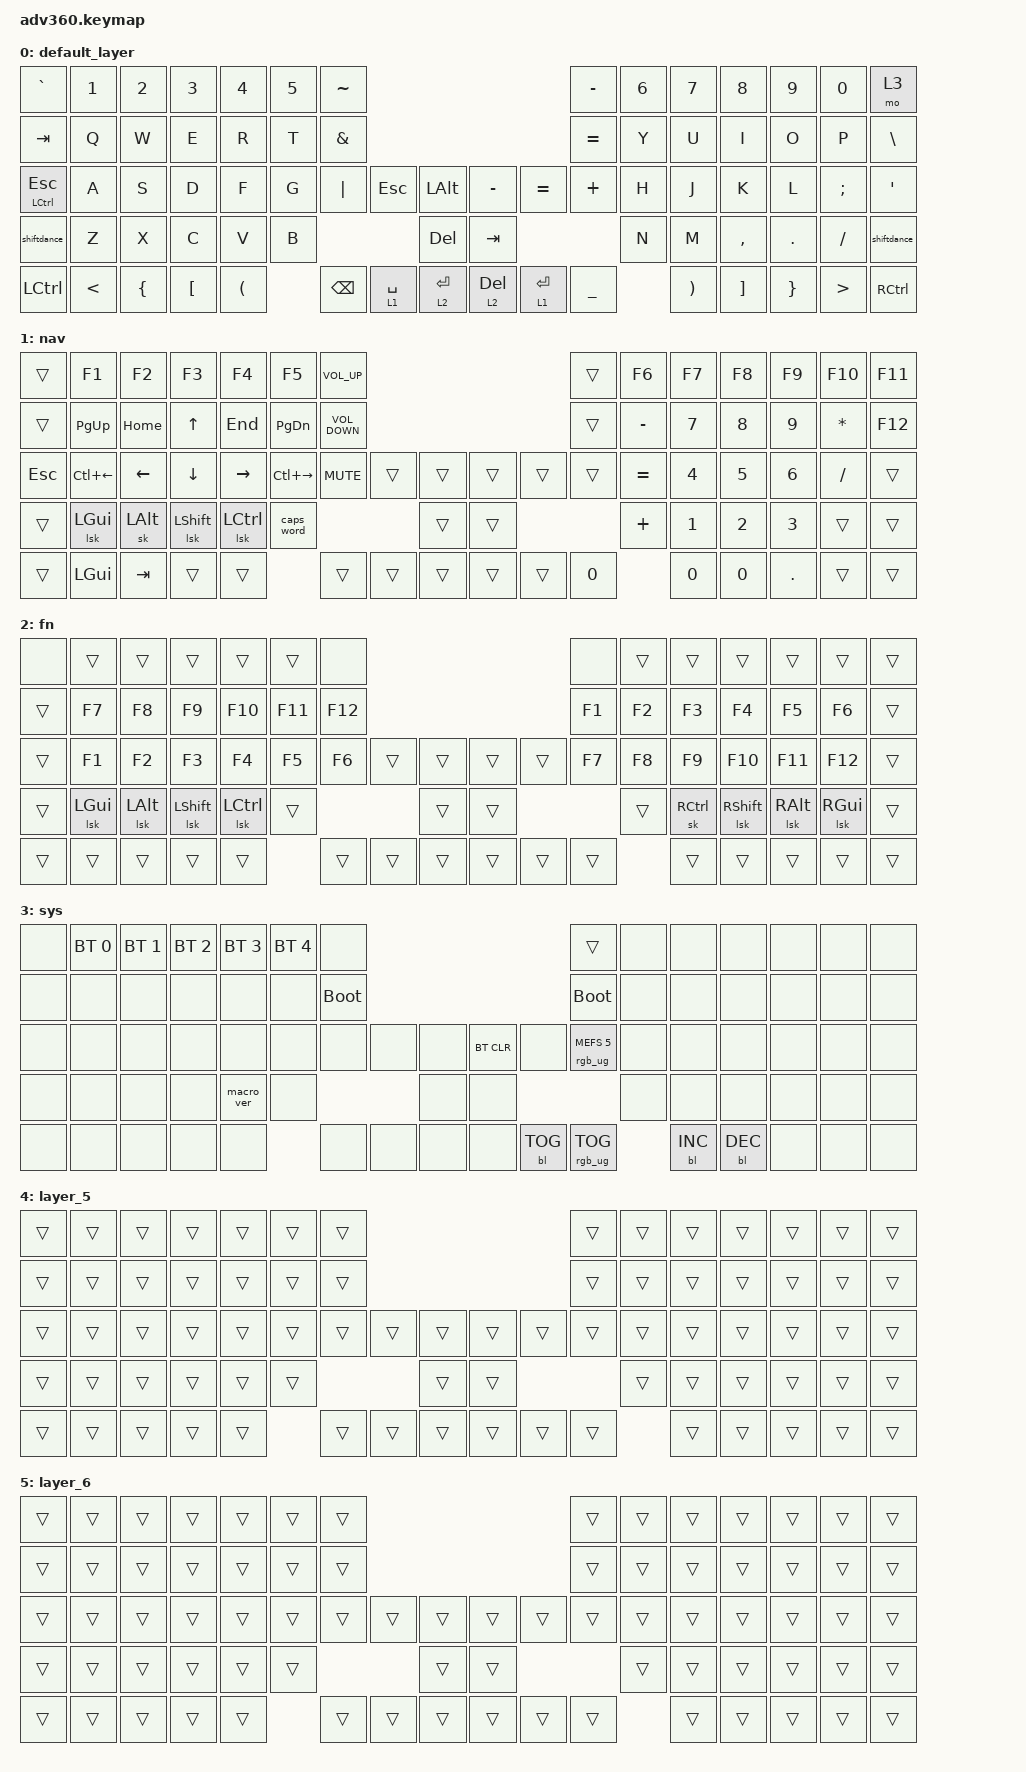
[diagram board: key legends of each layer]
#include <behaviors.dtsi>
#include <dt-bindings/zmk/backlight.h>
#include <dt-bindings/zmk/bt.h>
#include <dt-bindings/zmk/keys.h>
#include <dt-bindings/zmk/rgb.h>

&caps_word { continue-list = <UNDERSCORE BACKSPACE DELETE>; };

&sk {
};

/ {
    behaviors {
        #include "macros.dtsi"
      #include "version.dtsi"
      #ifndef VERSION_MACRO

        macro_ver: macro_ver {
            compatible = "zmk,behavior-macro";
            label = "macro_version";
            #binding-cells = <0>;
            bindings = <&kp RET>;
        };

        #endif

        hm_right: homerow_mods {
            compatible = "zmk,behavior-hold-tap";
            label = "HOMEROW_MODS";
            #binding-cells = <2>;
            tapping-term-ms = <190>;
            quick_tap_ms = <0>;
            flavor = "tap-preferred";
            bindings = <&kp>, <&kp>;

            quick-tap-ms = <300>;
            require-prior-idle-ms = <100>;
            hold-trigger-on-release;
            hold-trigger-key-positions = <0 1 2 3 4 5 6 14 15 16 17 18 19 20 28 29 30 31 32 33 34 35 36 46 47 48 49 50 51 52 60 61 62 63 64 65 66 67 37 38 53 68 69 70>;
        };

        shiftdance: shiftdance {
            compatible = "zmk,behavior-tap-dance";
            label = "SHIFTDANCE";
            #binding-cells = <0>;
            bindings = <&kp LEFT_SHIFT>, <&kp CAPS>;
        };

        lsk: lsk {
            compatible = "zmk,behavior-sticky-key";
            label = "LSK";
            bindings = <&kp>;
            #binding-cells = <1>;
            release-after-ms = <2000>;
            lazy;
            ignore-modifiers;
        };

        llt: llt {
            compatible = "zmk,behavior-hold-tap";
            label = "LLT";
            bindings = <&mo>, <&kp>;

            #binding-cells = <2>;
            tapping-term-ms = <500>;
            quick-tap-ms = <500>;
            flavor = "tap-unless-interrupted";
        };

        hm_left: hm_left {
            compatible = "zmk,behavior-hold-tap";
            label = "HM_LEFT";
            #binding-cells = <2>;
            tapping-term-ms = <190>;
            quick_tap_ms = <0>;
            flavor = "tap-preferred";
            bindings = <&kp>, <&kp>;

            quick-tap-ms = <300>;
            require-prior-idle-ms = <100>;
            hold-trigger-on-release;
            hold-trigger-key-positions = <7 8 9 10 11 12 13 21 22 23 24 25 26 27 38 39 40 41 42 43 44 45 54 55 56 57 58 59 71 72 73 74 75 37 38 53 68 69 70 71 35 36 52 65 66 67>;
        };
    };

    macros {
    };

    keymap {
        compatible = "zmk,keymap";

        default_layer {
            bindings = <
&kp GRAVE         &kp N1         &kp N2          &kp N3            &kp N4                &kp N5  &kp TILDE                                                             &kp MINUS  &kp N6  &kp N7                 &kp N8             &kp N9           &kp N0            &mo 3
&kp TAB           &kp Q          &kp W           &kp E             &kp R                 &kp T   &kp AMPERSAND                                                         &kp EQUAL  &kp Y   &kp U                  &kp I              &kp O            &kp P             &kp BSLH
&mt LCTRL ESCAPE  &kp A          &kp S           &kp D             &kp F                 &kp G   &kp PIPE       &kp ESCAPE   &kp LEFT_ALT      &kp MINUS  &kp EQUAL    &kp PLUS   &kp H   &kp J                  &kp K              &kp L            &kp SEMI          &kp SQT
&shiftdance       &kp Z          &kp X           &kp C             &kp V                 &kp B                               &kp DEL           &kp TAB                            &kp N   &kp M                  &kp COMMA          &kp DOT          &kp FSLH          &shiftdance
&kp LCTRL         &kp LESS_THAN  &kp LEFT_BRACE  &kp LEFT_BRACKET  &kp LEFT_PARENTHESIS          &kp BACKSPACE  &lt 1 SPACE  &lt 2 ENTER       &lt 2 DEL  &lt 1 ENTER  &kp UNDER          &kp RIGHT_PARENTHESIS  &kp RIGHT_BRACKET  &kp RIGHT_BRACE  &kp GREATER_THAN  &kp RCTRL
            >;
        };

        nav {
            bindings = <
&trans      &kp F1              &kp F2          &kp F3           &kp F4           &kp F5               &kp C_VOLUME_UP                                        &trans  &kp F6     &kp F7  &kp F8  &kp F9   &kp F10       &kp F11
&trans      &kp PAGE_UP         &kp HOME        &kp UP_ARROW     &kp END          &kp PAGE_DOWN        &kp C_VOLUME_DOWN                                      &trans  &kp MINUS  &kp N7  &kp N8  &kp N9   &kp ASTERISK  &kp F12
&kp ESCAPE  &kp LC(LEFT_ARROW)  &kp LEFT_ARROW  &kp DOWN_ARROW   &kp RIGHT_ARROW  &kp LC(RIGHT_ARROW)  &kp C_MUTE         &trans  &trans      &trans  &trans  &trans  &kp EQUAL  &kp N4  &kp N5  &kp N6   &kp SLASH     &trans
&trans      &lsk LGUI           &sk LEFT_ALT    &lsk LEFT_SHIFT  &lsk LCTRL       &caps_word                                      &trans      &trans                  &kp PLUS   &kp N1  &kp N2  &kp N3   &trans        &trans
&trans      &kp LEFT_GUI        &kp TAB         &trans           &trans                                &trans             &trans  &trans      &trans  &trans  &kp N0             &kp N0  &kp N0  &kp DOT  &trans        &trans
            >;
        };

        fn {
            bindings = <
&none   &trans     &trans     &trans      &trans      &trans   &none                                        &none   &trans  &trans     &trans            &trans          &trans          &trans
&trans  &kp F7     &kp F8     &kp F9      &kp F10     &kp F11  &kp F12                                      &kp F1  &kp F2  &kp F3     &kp F4            &kp F5          &kp F6          &trans
&trans  &kp F1     &kp F2     &kp F3      &kp F4      &kp F5   &kp F6   &trans  &trans      &trans  &trans  &kp F7  &kp F8  &kp F9     &kp F10           &kp F11         &kp F12         &trans
&trans  &lsk LGUI  &lsk LALT  &lsk LSHFT  &lsk LCTRL  &trans                    &trans      &trans                  &trans  &sk RCTRL  &lsk RIGHT_SHIFT  &lsk RIGHT_ALT  &lsk RIGHT_GUI  &trans
&trans  &trans     &trans     &trans      &trans               &trans   &trans  &trans      &trans  &trans  &trans          &trans     &trans            &trans          &trans          &trans
            >;
        };

        sys {
            bindings = <
&none  &bt BT_SEL 0  &bt BT_SEL 1  &bt BT_SEL 2  &bt BT_SEL 3  &bt BT_SEL 4  &none                                                  &trans                  &none  &none       &none       &none  &none  &none
&none  &none         &none         &none         &none         &none         &bootloader                                            &bootloader             &none  &none       &none       &none  &none  &none
&none  &none         &none         &none         &none         &none         &none        &none  &none      &bt BT_CLR  &none       &rgb_ug RGB_MEFS_CMD 5  &none  &none       &none       &none  &none  &none
&none  &none         &none         &none         &macro_ver    &none                             &none      &none                                           &none  &none       &none       &none  &none  &none
&none  &none         &none         &none         &none                       &none        &none  &none      &none       &bl BL_TOG  &rgb_ug RGB_TOG                &bl BL_INC  &bl BL_DEC  &none  &none  &none
            >;
        };

        layer_5 {
            bindings = <
&trans  &trans  &trans  &trans  &trans  &trans  &trans                                      &trans  &trans  &trans  &trans  &trans  &trans  &trans
&trans  &trans  &trans  &trans  &trans  &trans  &trans                                      &trans  &trans  &trans  &trans  &trans  &trans  &trans
&trans  &trans  &trans  &trans  &trans  &trans  &trans  &trans  &trans      &trans  &trans  &trans  &trans  &trans  &trans  &trans  &trans  &trans
&trans  &trans  &trans  &trans  &trans  &trans                  &trans      &trans                  &trans  &trans  &trans  &trans  &trans  &trans
&trans  &trans  &trans  &trans  &trans          &trans  &trans  &trans      &trans  &trans  &trans          &trans  &trans  &trans  &trans  &trans
            >;
        };

        layer_6 {
            bindings = <
&trans  &trans  &trans  &trans  &trans  &trans  &trans                                      &trans  &trans  &trans  &trans  &trans  &trans  &trans
&trans  &trans  &trans  &trans  &trans  &trans  &trans                                      &trans  &trans  &trans  &trans  &trans  &trans  &trans
&trans  &trans  &trans  &trans  &trans  &trans  &trans  &trans  &trans      &trans  &trans  &trans  &trans  &trans  &trans  &trans  &trans  &trans
&trans  &trans  &trans  &trans  &trans  &trans                  &trans      &trans                  &trans  &trans  &trans  &trans  &trans  &trans
&trans  &trans  &trans  &trans  &trans          &trans  &trans  &trans      &trans  &trans  &trans          &trans  &trans  &trans  &trans  &trans
            >;
        };
    };
};
